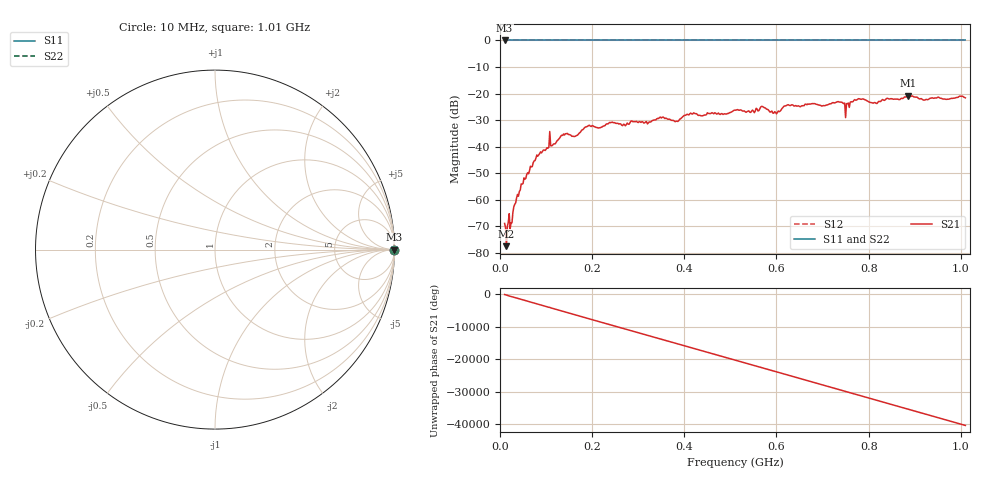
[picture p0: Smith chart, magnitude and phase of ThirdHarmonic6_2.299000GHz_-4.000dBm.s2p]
! 8/17/2025 3:06:24 AM
! C:\ANRITSUVNA\TEMP\TEMP.S2P
! CHANNEL.1
! TR.MEASUREMENT
! RAW.DATA
! RF.CORRECTION.OFF
! AVERAGING.OFF
! IF.BANDWIDTH: 5KHZ
! SWEEPTYPE:  FREQ.SWEEP(Linear)
! Reference Plane Port Info
! PORT:  PORT1  PORT2
! DISTANCE:  0  m  0  m
! TIME:  0  s  0  s
! PHASE.OFFSET:  0  deg.  0  deg.
! LOSS:  0  dB  0  dB
! REF.LOSS:  0  dB  0  dB
! REF.FREQ:  0  Hz  0  Hz
! Power Info
! POWER:  -20  dBm  -20  dBm
! EFF.POWER:  -20  dBm  -20  dBm
! SOURCE.ATTEN:  0  dB  0  dB
! TEST.ATTEN:  0  dB  0  dB
# GHZ S RI R 50.0
! FREQ.GHZ  S11RE  S11IM  S21RE  S21IM  S12RE  S12IM  S22RE  S22IM
!; PortSelection: Port_12
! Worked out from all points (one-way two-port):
!   501 points, 10 MHz to 1.01 GHz, reference 50 ohm
!   highest |S21| = -20.81 dB at 886 MHz (marker M1); lowest = -77.5 dB at 14 MHz (marker M2)
!   lowest |S11| = 0.0 dB at 10 MHz (marker M3)
!   |S11| at or under -10 dB: nowhere
!   |S22| runs from 0.0 to 0.0 dB; largest |S21 - S12| = 1.1
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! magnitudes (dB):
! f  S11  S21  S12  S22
! 10 MHz  0.0  -68.9  0.0  0.0
! 14 MHz  0.0  -77.5  0.0  0.0
! 26 MHz  0.0  -68.7  0.0  0.0
! 34 MHz  0.0  -61.2  0.0  0.0
! 50 MHz  0.0  -53.9  0.0  0.0
! 84 MHz  0.0  -43.1  0.0  0.0
! 136 MHz  0.0  -35.8  0.0  0.0
! 178 MHz  0.0  -33.7  0.0  0.0
! 344 MHz  0.0  -29.4  0.0  0.0
! 384 MHz  0.0  -30.4  0.0  0.0
! 416 MHz  0.0  -27.7  0.0  0.0
! 510 MHz  0.0  -26.2  0.0  0.0
! 570 MHz  0.0  -24.9  0.0  0.0
! 596 MHz  0.0  -26.8  0.0  0.0
! 622 MHz  0.0  -24.5  0.0  0.0
! 678 MHz  0.0  -23.8  0.0  0.0
! 736 MHz  0.0  -23.2  0.0  0.0
! 754 MHz  0.0  -23.8  0.0  0.0
! 778 MHz  0.0  -21.9  0.0  0.0
! 844 MHz  0.0  -22.0  0.0  0.0
! 886 MHz  0.0  -20.8  0.0  0.0
! 1.01 GHz  0.0  -21.6  0.0  0.0
